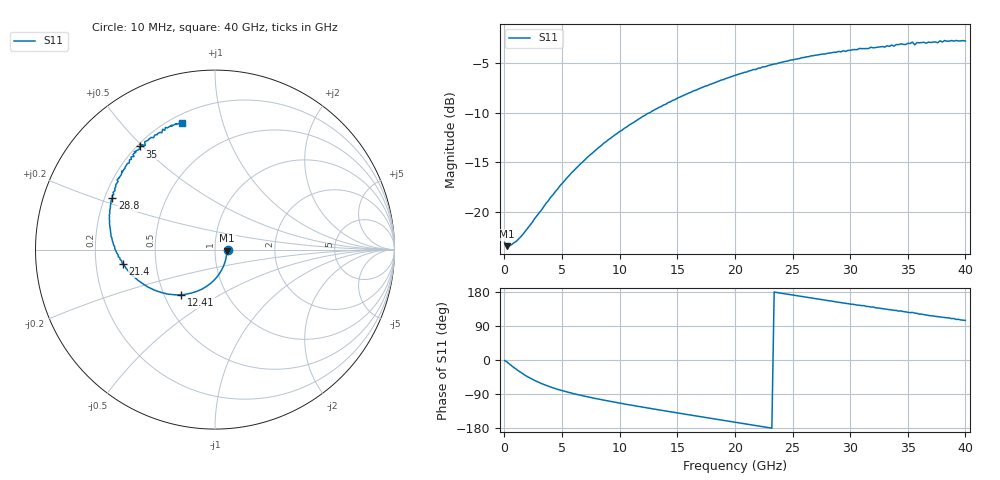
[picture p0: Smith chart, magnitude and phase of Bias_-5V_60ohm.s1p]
!Agilent Technologies,N5227A,US51270434,A.10.00.00
!Agilent N5227A: A.10.00.00
!Date: Monday, March 30, 2026 11:25:02
!Correction: S11(Full 1 Port(1))
!S1P File: Measurement: S11:
# Hz S  dB  R 50
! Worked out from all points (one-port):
!   201 points, 10 MHz to 40 GHz, reference 50 ohm
!   lowest |S11| = -23.5 dB at 209.9 MHz (marker M1), VSWR 1.14, Z = 57.1 - j0.656 ohm
!   |S11| at or under -10 dB: start of sweep to 12.59 GHz
!   S11 on the Smith chart (normalised r, x): 10 MHz: 1.15, -0.00; 12.41 GHz: 0.61, -0.34; 21.4 GHz: 0.32, -0.07; 28.8 GHz: 0.23, +0.23; 35 GHz: 0.21, +0.49; 40 GHz: 0.25, +0.75
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1e7  -23.11 -1.5
2.0995e8  -23.48 -4.9
1.40965e9  -22.53 -32.5
5.00875e9  -17.14 -80.8
7.2082e9  -14.48 -97.0
1.00075e10  -11.87 -113.7
1.24069e10  -10.07 -126.7
1.500625e10  -8.52 -139.7
1.740565e10  -7.31 -151.4
2.0005e10  -6.21 -164.0
2.140465e10  -5.72 -171.1
2.500375e10  -4.64 171.6
2.700325e10  -4.17 162.1
2.88028e10  -3.88 153.3
3.00025e10  -3.68 147.6
3.12022e10  -3.51 143.5
3.180205e10  -3.37 139.7
3.2002e10  -3.43 140.0
3.500125e10  -2.97 126.0
3.52012e10  -2.98 125.0
3.540115e10  -2.84 125.6
3.56011e10  -3.12 123.8
3.580105e10  -2.89 123.1
3.6001e10  -2.92 121.1
3.76006e10  -2.91 114.5
3.780055e10  -2.72 113.5
3.900025e10  -2.75 109.6
4e10  -2.73 104.5
